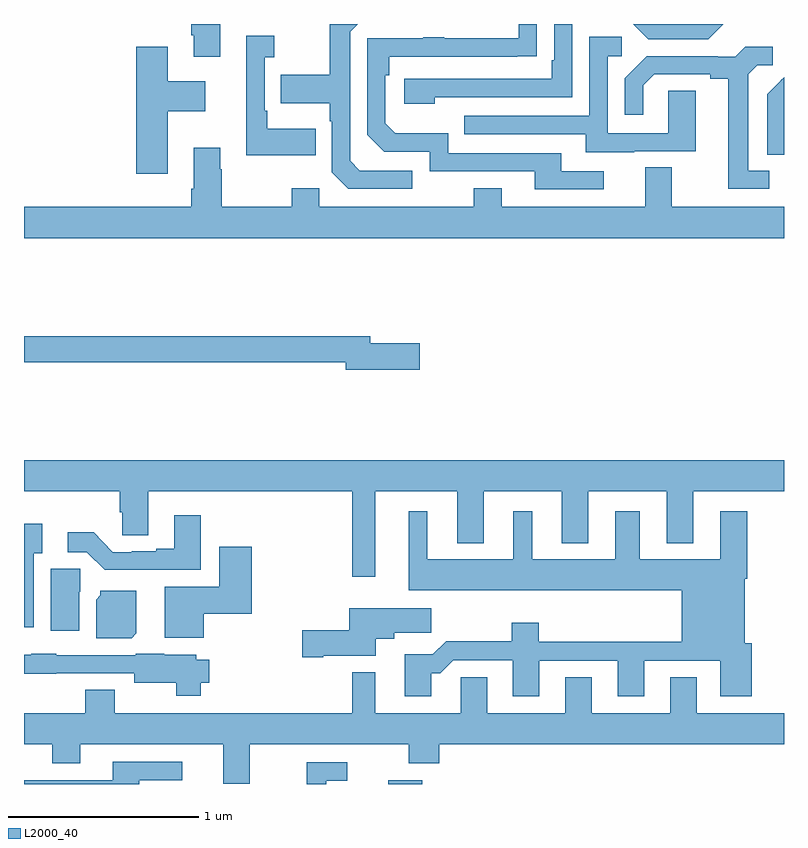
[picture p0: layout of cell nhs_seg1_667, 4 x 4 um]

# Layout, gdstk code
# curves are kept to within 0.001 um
import gdstk
lib = gdstk.Library(unit=1e-6, precision=1e-09)
def R(c, l, rs):  # rectangles x0, y0, x1, y1
    for r in rs: c.add(gdstk.rectangle(r[:2], r[2:], *l))
def P(c, l, *ps):  # polygons
    for p in ps: c.add(gdstk.Polygon(p, *l))
L2000_40 = (2000, 40)

nhs_seg1_667 = lib.new_cell('nhs_seg1_667')
R(nhs_seg1_667, L2000_40, [(148.916,542.199,149.095,542.218)])
P(nhs_seg1_667, L2000_40, [(150.679,546.199),(150.206,546.199),(150.285,546.12),(150.6,546.12)],
  [(149.162,545.814),(149.886,545.814),(149.886,546.199),(149.79,546.199),(149.79,546.007),(149.777,546.007),(149.777,545.91),(149.001,545.91),(149.001,545.78),(149.162,545.78)],
  [(150.052,545.424),(149.827,545.424),(149.827,545.52),(149.232,545.52),(149.232,545.623),(148.955,545.623),(148.902,545.676),(148.902,545.93),(148.922,545.93),(148.922,546.027),(149.699,546.028),(149.699,546.199),(149.603,546.199),(149.603,546.123),(149.213,546.123),(149.213,546.128),(149.101,546.128),(149.101,546.123),(148.806,546.123),(148.806,545.616),(148.896,545.526),(149.136,545.526),(149.136,545.424),(149.687,545.424),(149.687,545.328),(150.052,545.328)],
  [(148.033,546.199),(147.881,546.199),(147.881,546.139),(147.893,546.139),(147.893,546.027),(148.033,546.027)],
  [(149.044,545.427),(148.767,545.427),(148.716,545.478),(148.716,546.159),(148.756,546.199),(148.608,546.199),(148.608,545.931),(148.351,545.931),(148.351,545.783),(148.608,545.783),(148.608,545.687),(148.62,545.687),(148.62,545.418),(148.707,545.331),(149.044,545.331)],
  [(148.535,545.647),(148.279,545.647),(148.279,545.743),(148.266,545.743),(148.266,546.023),(148.318,546.023),(148.318,546.136),(148.169,546.136),(148.169,545.507),(148.535,545.507)],
  [(150.211,545.529),(150.535,545.529),(150.535,545.849),(150.39,545.849),(150.39,545.625),(150.072,545.625),(150.072,546.03),(150.145,546.03),(150.145,546.131),(149.976,546.131),(149.976,545.715),(149.317,545.715),(149.317,545.619),(149.957,545.619),(149.957,545.525),(150.211,545.525)],
  [(150.922,545.427),(150.811,545.427),(150.811,545.935),(150.858,545.982),(150.94,545.982),(150.94,546.079),(150.796,546.079),(150.744,546.027),(150.65,546.027),(150.65,546.03),(150.278,546.03),(150.162,545.914),(150.162,545.721),(150.259,545.721),(150.259,545.877),(150.316,545.934),(150.611,545.934),(150.611,545.912),(150.707,545.912),(150.707,545.331),(150.922,545.331)],
  [(147.757,545.741),(147.955,545.741),(147.955,545.899),(147.757,545.899),(147.757,546.079),(147.59,546.079),(147.59,545.412),(147.757,545.412)],
  [(151,545.92),(150.984,545.904),(150.985,545.903),(150.912,545.83),(150.912,545.512),(151,545.512)],
  [(151,545.236),(150.409,545.236),(150.409,545.444),(150.269,545.444),(150.269,545.236),(149.515,545.236),(149.515,545.335),(149.368,545.335),(149.368,545.236),(148.554,545.236),(148.554,545.335),(148.408,545.335),(148.408,545.236),(148.041,545.236),(148.041,545.435),(148.033,545.435),(148.033,545.548),(147.893,545.548),(147.893,545.332),(147.881,545.332),(147.881,545.236),(147,545.236),(147,545.072),(151,545.072)],
  [(149.083,544.52),(148.822,544.52),(148.822,544.556),(147,544.556),(147,544.42),(148.694,544.42),(148.694,544.378),(149.083,544.378)],
  [(148.849,543.74),(149.279,543.74),(149.279,543.467),(149.419,543.467),(149.419,543.74),(149.831,543.74),(149.831,543.467),(149.971,543.467),(149.971,543.74),(150.383,543.74),(150.383,543.467),(150.523,543.467),(150.523,543.74),(151,543.74),(151,543.904),(147,543.904),(147,543.74),(147.503,543.74),(147.503,543.63),(147.516,543.63),(147.516,543.508),(147.655,543.508),(147.655,543.74),(148.728,543.74),(148.728,543.291),(148.849,543.291)],
  [(149.143,542.783),(149.192,542.783),(149.259,542.85),(149.573,542.85),(149.573,542.661),(149.713,542.661),(149.713,542.847),(150.125,542.847),(150.125,542.661),(150.265,542.661),(150.265,542.847),(150.665,542.847),(150.665,542.661),(150.83,542.661),(150.83,542.94),(150.793,542.94),(150.793,543.278),(150.806,543.278),(150.806,543.634),(150.665,543.634),(150.665,543.382),(150.241,543.382),(150.241,543.634),(150.113,543.634),(150.113,543.382),(149.674,543.382),(149.674,543.634),(149.576,543.634),(149.576,543.382),(149.122,543.382),(149.122,543.634),(149.024,543.634),(149.024,543.218),(150.461,543.218),(150.461,542.948),(149.708,542.948),(149.708,543.049),(149.566,543.049),(149.566,542.951),(149.222,542.951),(149.152,542.881),(149.003,542.881),(149.003,542.661),(149.143,542.661)],
  [(147.931,543.613),(147.791,543.613),(147.791,543.436),(147.695,543.436),(147.695,543.423),(147.568,543.423),(147.568,543.42),(147.468,543.42),(147.366,543.523),(147.231,543.523),(147.231,543.42),(147.33,543.42),(147.424,543.326),(147.931,543.326)],
  [(147.052,543.414),(147.097,543.414),(147.097,543.568),(147,543.568),(147,543.024),(147.052,543.024)],
  [(147.946,543.095),(148.199,543.095),(148.199,543.448),(148.028,543.448),(148.028,543.238),(147.74,543.238),(147.74,542.969),(147.946,542.969)],
  [(147.292,543.21),(147.296,543.21),(147.296,543.333),(147.14,543.333),(147.14,543.006),(147.292,543.006)],
  [(147.592,542.992),(147.592,543.217),(147.402,543.217),(147.402,543.192),(147.38,543.17),(147.38,542.966),(147.566,542.966)],
  [(148.576,542.873),(148.852,542.873),(148.852,542.963),(148.948,542.963),(148.948,542.995),(149.143,542.995),(149.143,543.124),(148.712,543.124),(148.712,543.008),(148.464,543.008),(148.464,542.866),(148.576,542.866)],
  [(147.929,542.732),(147.974,542.732),(147.974,542.854),(147.906,542.854),(147.906,542.878),(147.738,542.878),(147.738,542.884),(147.588,542.884),(147.588,542.877),(147.171,542.877),(147.171,542.884),(147.039,542.884),(147.039,542.878),(147,542.878),(147,542.78),(147.171,542.78),(147.171,542.781),(147.581,542.781),(147.581,542.732),(147.801,542.732),(147.801,542.663),(147.929,542.663)],
  [(148.189,542.408),(149.026,542.408),(149.026,542.309),(149.186,542.309),(149.186,542.408),(151,542.408),(151,542.572),(150.541,542.572),(150.541,542.762),(150.401,542.762),(150.401,542.572),(149.989,542.572),(149.989,542.762),(149.849,542.762),(149.849,542.572),(149.437,542.572),(149.437,542.762),(149.298,542.762),(149.298,542.572),(148.849,542.572),(148.849,542.788),(148.728,542.788),(148.728,542.572),(147.477,542.572),(147.477,542.696),(147.322,542.696),(147.322,542.572),(147,542.572),(147,542.408),(147.148,542.408),(147.148,542.309),(147.295,542.309),(147.295,542.408),(148.049,542.408),(148.049,542.2),(148.189,542.2)],
  [(147.607,542.22),(147.832,542.22),(147.832,542.316),(147.467,542.316),(147.467,542.22),(147,542.22),(147,542.199),(147.607,542.199)],
  [(148.591,542.217),(148.702,542.217),(148.702,542.313),(148.487,542.313),(148.487,542.199),(148.591,542.199)])

lib.write_gds('nhs_seg1_667.gds')
